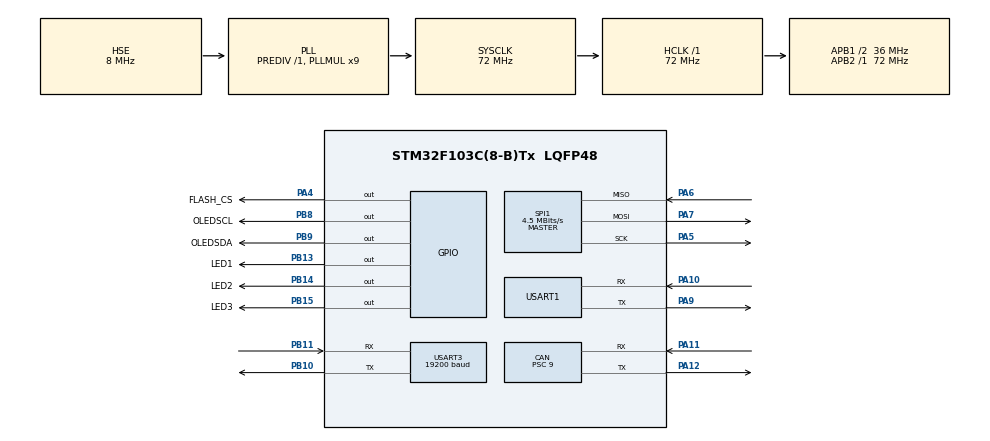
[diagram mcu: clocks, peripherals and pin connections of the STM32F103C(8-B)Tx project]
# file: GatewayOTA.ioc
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CAN.ABOM=ENABLE
CAN.BS1=CAN_BS1_13TQ
CAN.BS2=CAN_BS2_2TQ
CAN.CalculateBaudRate=250000
CAN.CalculateTimeBit=4000
CAN.CalculateTimeQuantum=250.0
CAN.Mode=CAN_MODE_NORMAL
CAN.NART=DISABLE
CAN.Prescaler=9
CAN.SJW=CAN_SJW_1TQ
Mcu.Family=STM32F1
Mcu.Name=STM32F103C(8-B)Tx
Mcu.Package=LQFP48
NVIC.PriorityGroup=NVIC_PRIORITYGROUP_4
NVIC.TIM4_IRQn=true\:15\:0\:false\:false\:true\:false\:true\:true
NVIC.TimeBase=TIM4_IRQn
NVIC.TimeBaseIP=TIM4
NVIC.USART1_IRQn=true\:5\:0\:true\:false\:true\:true\:true\:true
NVIC.USB_LP_CAN1_RX0_IRQn=true\:6\:0\:false\:false\:true\:true\:true\:true
PA10.GPIO_PuPd=GPIO_NOPULL
PA10.Mode=Asynchronous
PA10.Signal=USART1_RX
PA11.Mode=CAN_Activate
PA11.Signal=CAN_RX
PA12.Mode=CAN_Activate
PA12.Signal=CAN_TX
PA13.Mode=Serial_Wire
PA13.Signal=SYS_JTMS-SWDIO
PA14.Mode=Serial_Wire
PA14.Signal=SYS_JTCK-SWCLK
PA5.Mode=Full_Duplex_Master
PA5.Signal=SPI1_SCK
PA6.Mode=Full_Duplex_Master
PA6.Signal=SPI1_MISO
PA7.Mode=Full_Duplex_Master
PA7.Signal=SPI1_MOSI
PA9.GPIO_Speed=GPIO_SPEED_FREQ_HIGH
PA9.Mode=Asynchronous
PA9.Signal=USART1_TX
PB10.Mode=Asynchronous
PB10.Signal=USART3_TX
PB11.Mode=Asynchronous
PB11.Signal=USART3_RX
PB13.GPIO_Label=LED1
PB13.Signal=GPIO_Output
PB14.GPIO_Label=LED2
PB14.Signal=GPIO_Output
PB15.GPIO_Label=LED3
PB15.Signal=GPIO_Output
PA4.GPIO_Label=FLASH_CS
PA4.PinState=GPIO_PIN_SET
PA4.Signal=GPIO_Output
PB8.GPIO_Label=OLEDSCL
PB8.GPIO_ModeDefaultOutputPP=GPIO_MODE_OUTPUT_OD
PB8.GPIO_PuPd=GPIO_NOPULL
PB8.PinState=GPIO_PIN_SET
PB8.Signal=GPIO_Output
PB9.GPIO_Label=OLEDSDA
PB9.GPIO_ModeDefaultOutputPP=GPIO_MODE_OUTPUT_OD
PB9.GPIO_PuPd=GPIO_NOPULL
PB9.PinState=GPIO_PIN_SET
PB9.Signal=GPIO_Output
PD0-OSC_IN.Mode=HSE-External-Oscillator
PD0-OSC_IN.Signal=RCC_OSC_IN
PD1-OSC_OUT.Mode=HSE-External-Oscillator
PD1-OSC_OUT.Signal=RCC_OSC_OUT
ProjectManager.HeapSize=0x200
ProjectManager.StackSize=0x400
ProjectManager.TargetToolchain=MDK-ARM V5
RCC.AHBFreq_Value=72000000
RCC.APB1CLKDivider=RCC_HCLK_DIV2
RCC.APB1Freq_Value=36000000
RCC.APB1TimFreq_Value=72000000
RCC.APB2Freq_Value=72000000
RCC.APB2TimFreq_Value=72000000
RCC.HCLKFreq_Value=72000000
RCC.PLLMUL=RCC_PLL_MUL9
RCC.PLLSourceVirtual=RCC_PLLSOURCE_HSE
RCC.SYSCLKFreq_VALUE=72000000
RCC.SYSCLKSource=RCC_SYSCLKSOURCE_PLLCLK
RCC.USBFreq_Value=72000000
SPI1.BaudRatePrescaler=SPI_BAUDRATEPRESCALER_16
SPI1.CalculateBaudRate=4.5 MBits/s
SPI1.Direction=SPI_DIRECTION_2LINES
SPI1.Mode=SPI_MODE_MASTER
SPI1.VirtualType=VM_MASTER
USART1.VirtualMode=VM_ASYNC
USART3.BaudRate=19200
USART3.Parity=PARITY_EVEN
USART3.VirtualMode=VM_ASYNC
USART3.WordLength=WORDLENGTH_9B
VP_SYS_VS_tim4.Mode=TIM4
board=custom

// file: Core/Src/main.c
/* USER CODE BEGIN Header */
/**
  ******************************************************************************
  * @file           : main.c
  * @brief          : Main program body
  ******************************************************************************
  * @attention
  *
  * Copyright (c) 2026 STMicroelectronics.
  * All rights reserved.
  *
  * This software is licensed under terms that can be found in the LICENSE file
  * in the root directory of this software component.
  * If no LICENSE file comes with this software, it is provided AS-IS.
  *
  ******************************************************************************
  */
/* USER CODE END Header */
#include "main.h"

/* USER CODE BEGIN Includes */
#include "OLED.h"
#include "gateway_protocol.h"
#include "flash_queue.h"
#include "modbus_master.h"
#include "ota_layout.h"
#include "ota_meta.h"
#include "ota_download.h"
#include <string.h>
/* USER CODE END Includes */

/* USER CODE BEGIN PD */
#ifndef GW_APP_VERSION
/* 首次烧录版本；发布新版时编译宏必须与发布清单的 VERSION 一致。 */
#define GW_APP_VERSION 10000UL
#endif
/* USER CODE END PD */

CAN_HandleTypeDef hcan;

SPI_HandleTypeDef hspi1;

UART_HandleTypeDef huart1;
UART_HandleTypeDef huart3;

/* USER CODE BEGIN PV */
/* 两个任务共用同一颗 W25Q32；持锁期间才能访问外部 Flash。 */
static SemaphoreHandle_t flash_lock;
static uint8_t flash_ok;
/* volatile 让任务每次重新读取共享标志；Flash 的互斥仍由 flash_lock 保证。 */
static volatile uint32_t poll_interval_ms = 5000U;
static volatile uint8_t update_requested;
static volatile uint8_t poll_completed;
static uint8_t ota_testing;
static ota_meta_t ota_meta;
/* USART1 中断只入队；512 字节可容纳一条最长约 280 字节的 OTA 数据行。 */
static uint8_t esp_rx_byte;
static volatile uint8_t esp_rx_ring[512];
static volatile uint16_t esp_rx_head;
static volatile uint16_t esp_rx_tail;
static volatile uint8_t esp_rx_fault;
/* CAN 联调阶段只接收 ID 0x301；Keil Watch 可查看最近值和收帧次数。 */
volatile uint16_t can_last_value;
volatile uint16_t can_last_sequence;
volatile uint32_t can_rx_count;
volatile uint32_t can_last_tick;
volatile uint32_t can_init_ok;
/* USER CODE END PV */

void SystemClock_Config(void);
static void MX_GPIO_Init(void);
static void MX_CAN_Init(void);
static void MX_SPI1_Init(void);
static void MX_USART1_UART_Init(void);
static void MX_USART3_UART_Init(void);
/* USER CODE BEGIN PFP */
static void BootBlink(uint8_t times);
static uint8_t OTA_StartupCheck(void);
static void SendVersion(void);
static uint32_t parse_ack(const char *s);
static uint32_t parse_poll(const char *s);
static void PollTask(void *argument);
static void BridgeTask(void *argument);
static uint8_t CAN_GatewayStart(void);
/* USER CODE END PFP */

/* USER CODE BEGIN 0 */
/* CAN 外设本体已由生成区 MX_CAN_Init 配好（PA11/PA12、250 kbit/s）。
   这里只做 CubeMX 不生成的三件事：过滤器、启动、开接收中断。
   不加过滤器：FIFO 会收到总线上所有帧；不 Start：收发不了；
   不开通知：收不到中断，回调永远不会被调用。 */
static uint8_t CAN_GatewayStart(void) {
    CAN_FilterTypeDef filter = {0};
    /* 32 位掩码模式：只放行标准数据帧 0x301。
       FilterIdHigh = 0x301<<5：标准 ID 占过滤寄存器 31:21 位；
       FilterMaskIdLow = 6：IDE、RTR 两位也参与匹配（必须是标准帧 + 数据帧）。 */
    filter.FilterBank = 0;
    filter.FilterMode = CAN_FILTERMODE_IDMASK;
    filter.FilterScale = CAN_FILTERSCALE_32BIT;
    filter.FilterIdHigh = (uint16_t)(0x301U << 5);
    filter.FilterIdLow = 0x0000U;
    filter.FilterMaskIdHigh = (uint16_t)(0x7FFU << 5);
    filter.FilterMaskIdLow = 0x0006U;
    filter.FilterFIFOAssignment = CAN_RX_FIFO0;
    filter.FilterActivation = ENABLE;
    filter.SlaveStartFilterBank = 14;
    if (HAL_CAN_ConfigFilter(&hcan, &filter) != HAL_OK) return 0U;
    if (HAL_CAN_Start(&hcan) != HAL_OK) return 0U;
    /* 打开 FIFO0 收到消息中断，收到帧后进 HAL_CAN_RxFifo0MsgPendingCallback。 */
    if (HAL_CAN_ActivateNotification(&hcan, CAN_IT_RX_FIFO0_MSG_PENDING) != HAL_OK) return 0U;
    return 1U;
}

/* USER CODE END 0 */

int main(void)
{

  /* USER CODE BEGIN 1 */
  /* 应用从 0x08006000 启动，中断向量也必须切到这个地址。 */
  SCB->VTOR = OTA_APP_BASE;
  /* USER CODE END 1 */

  /* MCU Configuration--------------------------------------------------------*/

  /* Reset of all peripherals, Initializes the Flash interface and the Systick. */
  HAL_Init();

  /* Configure the system clock */
  SystemClock_Config();

  /* Initialize all configured peripherals */
  MX_GPIO_Init();
  MX_CAN_Init();
  MX_SPI1_Init();
  MX_USART1_UART_Init();
  MX_USART3_UART_Init();
  /* USER CODE BEGIN 2 */
  can_init_ok = CAN_GatewayStart();
  if (!can_init_ok) Error_Handler();
  /* 三灯快闪：不依赖屏幕和任何时间基准，先证明 App 真的跳进来了。 */
  BootBlink(1);
  /* 屏幕放在串口之前初始化，避免串口出错时连屏都点不亮。 */
  OLED_Init();
  /* 常显正在运行的 App 编译版本，升级后可直接从屏幕核对。 */
  OLED_ShowString(1, 1, "V");
  OLED_ShowNum(1, 2, GW_APP_VERSION, 5);
  OLED_ShowString(1, 7, " C:ERR    ");
  OLED_ShowString(2, 1, "ID1:----- WAIT  ");
  OLED_ShowString(3, 1, "ID2:----- WAIT  ");
  OLED_ShowString(4, 1, "INIT...         ");
  /* 屏没有应答时再快闪三下，用来区分“接线/供电问题”和“程序没跑”。 */
  if (OLED_I2C_Nack) BootBlink(3);
  if (HAL_UART_Receive_IT(&huart1, &esp_rx_byte, 1) != HAL_OK)
  {
    OLED_ShowString(4, 1, "UART1 ERR       ");
    Error_Handler();
  }
  flash_ok = FlashQueue_Init();
  if (!flash_ok)
  {
    OLED_ShowString(4, 1, "FLASH ERR       ");
    HAL_GPIO_WritePin(LED3_GPIO_Port, LED3_Pin, GPIO_PIN_SET);
  }
  if (flash_ok && !OTA_StartupCheck()) NVIC_SystemReset();

  /* 栈单位为 32 位字；桥接任务用 768 字（3 KiB）容纳下载行、SHA 和 HAL 调用。 */
  flash_lock = xSemaphoreCreateMutex();
  if (!flash_lock ||
      xTaskCreate(PollTask, "poll", 256, 0, 2, 0) != pdPASS ||
      xTaskCreate(BridgeTask, "bridge", 768, 0, 1, 0) != pdPASS) Error_Handler();
  vTaskStartScheduler();
  Error_Handler();
  /* USER CODE END 2 */

  /* Infinite loop */
  while (1)
  {

  }
}

void SystemClock_Config(void)
{
  RCC_OscInitTypeDef RCC_OscInitStruct = {0};
  RCC_ClkInitTypeDef RCC_ClkInitStruct = {0};

  /** Initializes the RCC Oscillators according to the specified parameters
  * in the RCC_OscInitTypeDef structure.
  */
  RCC_OscInitStruct.OscillatorType = RCC_OSCILLATORTYPE_HSE;
  RCC_OscInitStruct.HSEState = RCC_HSE_ON;
  RCC_OscInitStruct.HSEPredivValue = RCC_HSE_PREDIV_DIV1;
  RCC_OscInitStruct.HSIState = RCC_HSI_ON;
  RCC_OscInitStruct.PLL.PLLState = RCC_PLL_ON;
  RCC_OscInitStruct.PLL.PLLSource = RCC_PLLSOURCE_HSE;
  RCC_OscInitStruct.PLL.PLLMUL = RCC_PLL_MUL9;
  if (HAL_RCC_OscConfig(&RCC_OscInitStruct) != HAL_OK)
  {
    Error_Handler();
  }

  /** Initializes the CPU, AHB and APB buses clocks
  */
  RCC_ClkInitStruct.ClockType = RCC_CLOCKTYPE_HCLK|RCC_CLOCKTYPE_SYSCLK
                              |RCC_CLOCKTYPE_PCLK1|RCC_CLOCKTYPE_PCLK2;
  RCC_ClkInitStruct.SYSCLKSource = RCC_SYSCLKSOURCE_PLLCLK;
  RCC_ClkInitStruct.AHBCLKDivider = RCC_SYSCLK_DIV1;
  RCC_ClkInitStruct.APB1CLKDivider = RCC_HCLK_DIV2;
  RCC_ClkInitStruct.APB2CLKDivider = RCC_HCLK_DIV1;

  if (HAL_RCC_ClockConfig(&RCC_ClkInitStruct, FLASH_LATENCY_2) != HAL_OK)
  {
    Error_Handler();
  }
}

static void MX_SPI1_Init(void)
{

  /* SPI1 parameter configuration*/
  hspi1.Instance = SPI1;
  hspi1.Init.Mode = SPI_MODE_MASTER;
  hspi1.Init.Direction = SPI_DIRECTION_2LINES;
  hspi1.Init.DataSize = SPI_DATASIZE_8BIT;
  hspi1.Init.CLKPolarity = SPI_POLARITY_LOW;
  hspi1.Init.CLKPhase = SPI_PHASE_1EDGE;
  hspi1.Init.NSS = SPI_NSS_SOFT;
  hspi1.Init.BaudRatePrescaler = SPI_BAUDRATEPRESCALER_16;
  hspi1.Init.FirstBit = SPI_FIRSTBIT_MSB;
  hspi1.Init.TIMode = SPI_TIMODE_DISABLE;
  hspi1.Init.CRCCalculation = SPI_CRCCALCULATION_DISABLE;
  hspi1.Init.CRCPolynomial = 10;
  if (HAL_SPI_Init(&hspi1) != HAL_OK)
  {
    Error_Handler();
  }

}

static void MX_USART1_UART_Init(void)
{

  huart1.Instance = USART1;
  huart1.Init.BaudRate = 115200;
  huart1.Init.WordLength = UART_WORDLENGTH_8B;
  huart1.Init.StopBits = UART_STOPBITS_1;
  huart1.Init.Parity = UART_PARITY_NONE;
  huart1.Init.Mode = UART_MODE_TX_RX;
  huart1.Init.HwFlowCtl = UART_HWCONTROL_NONE;
  huart1.Init.OverSampling = UART_OVERSAMPLING_16;
  if (HAL_UART_Init(&huart1) != HAL_OK)
  {
    Error_Handler();
  }

}

static void MX_USART3_UART_Init(void)
{

  huart3.Instance = USART3;
  huart3.Init.BaudRate = 19200;
  huart3.Init.WordLength = UART_WORDLENGTH_9B;
  huart3.Init.StopBits = UART_STOPBITS_1;
  huart3.Init.Parity = UART_PARITY_EVEN;
  huart3.Init.Mode = UART_MODE_TX_RX;
  huart3.Init.HwFlowCtl = UART_HWCONTROL_NONE;
  huart3.Init.OverSampling = UART_OVERSAMPLING_16;
  if (HAL_UART_Init(&huart3) != HAL_OK)
  {
    Error_Handler();
  }

}

static void MX_GPIO_Init(void)
{
  GPIO_InitTypeDef GPIO_InitStruct = {0};

  /* GPIO Ports Clock Enable */
  __HAL_RCC_GPIOD_CLK_ENABLE();
  __HAL_RCC_GPIOA_CLK_ENABLE();
  __HAL_RCC_GPIOB_CLK_ENABLE();

  /*Configure GPIO pin Output Level */
  HAL_GPIO_WritePin(GPIOB, LED1_Pin|LED2_Pin|LED3_Pin, GPIO_PIN_RESET);

  /*Configure GPIO pin Output Level */
  HAL_GPIO_WritePin(GPIOA, FLASH_CS_Pin, GPIO_PIN_SET);
  HAL_GPIO_WritePin(GPIOB, OLEDSCL_Pin|OLEDSDA_Pin, GPIO_PIN_SET);

  /*Configure GPIO pins : LED1_Pin LED2_Pin LED3_Pin */
  GPIO_InitStruct.Pin = LED1_Pin|LED2_Pin|LED3_Pin;
  GPIO_InitStruct.Mode = GPIO_MODE_OUTPUT_PP;
  GPIO_InitStruct.Pull = GPIO_NOPULL;
  GPIO_InitStruct.Speed = GPIO_SPEED_FREQ_LOW;
  HAL_GPIO_Init(GPIOB, &GPIO_InitStruct);

  /*Configure GPIO pin : FLASH_CS_Pin */
  GPIO_InitStruct.Pin = FLASH_CS_Pin;
  GPIO_InitStruct.Mode = GPIO_MODE_OUTPUT_PP;
  GPIO_InitStruct.Pull = GPIO_NOPULL;
  GPIO_InitStruct.Speed = GPIO_SPEED_FREQ_LOW;
  HAL_GPIO_Init(GPIOA, &GPIO_InitStruct);

  /*Configure GPIO pins : OLEDSCL_Pin OLEDSDA_Pin */
  GPIO_InitStruct.Pin = OLEDSCL_Pin|OLEDSDA_Pin;
  GPIO_InitStruct.Mode = GPIO_MODE_OUTPUT_OD;
  GPIO_InitStruct.Pull = GPIO_NOPULL;
  GPIO_InitStruct.Speed = GPIO_SPEED_FREQ_LOW;
  HAL_GPIO_Init(GPIOB, &GPIO_InitStruct);

}

static void MX_CAN_Init(void)
{

  hcan.Instance = CAN1;
  hcan.Init.Prescaler = 9;
  hcan.Init.Mode = CAN_MODE_NORMAL;
  hcan.Init.SyncJumpWidth = CAN_SJW_1TQ;
  hcan.Init.TimeSeg1 = CAN_BS1_13TQ;
  hcan.Init.TimeSeg2 = CAN_BS2_2TQ;
  hcan.Init.TimeTriggeredMode = DISABLE;
  hcan.Init.AutoBusOff = ENABLE;
  hcan.Init.AutoWakeUp = DISABLE;
  hcan.Init.AutoRetransmission = ENABLE;
  hcan.Init.ReceiveFifoLocked = DISABLE;
  hcan.Init.TransmitFifoPriority = DISABLE;
  if (HAL_CAN_Init(&hcan) != HAL_OK)
  {
    Error_Handler();
  }
}

/* USER CODE BEGIN 4 */
/* 收帧回调：HAL_CAN_IRQHandler 在 FIFO0 有消息时调用这里。
   只接受标准数据帧 0x301，且数据长度必须为 4 字节。 */
void HAL_CAN_RxFifo0MsgPendingCallback(CAN_HandleTypeDef *phcan)
{
    CAN_RxHeaderTypeDef header;
    uint8_t data[8];
    /* FIFO 里可能堆着多帧，因此循环取完。 */
    while (HAL_CAN_GetRxFifoFillLevel(phcan, CAN_RX_FIFO0) > 0U) {
        if (HAL_CAN_GetRxMessage(phcan, CAN_RX_FIFO0, &header, data) != HAL_OK)
            break;
        if (header.IDE == CAN_ID_STD && header.StdId == 0x301U &&
            header.RTR == CAN_RTR_DATA && header.DLC == 4U) {
            /* 前两个字节组成数值，后两个字节组成序号，均为小端序。 */
            uint32_t d = (uint32_t)data[0] | ((uint32_t)data[1] << 8) |
                         ((uint32_t)data[2] << 16) | ((uint32_t)data[3] << 24);
            can_last_value = (uint16_t)d;
            can_last_sequence = (uint16_t)(d >> 16);
            can_last_tick = HAL_GetTick();
            can_rx_count++;
        }
    }
}

/* 上电自检：三灯同闪，不依赖 OLED、HAL_Delay 和 RTOS，纯 NOP 延时。 */
static void BootBlink(uint8_t times) {
    uint8_t n;
    uint32_t i;
    for (n = 0; n < times; ++n) {
        HAL_GPIO_WritePin(GPIOB, LED1_Pin | LED2_Pin | LED3_Pin, GPIO_PIN_SET);
        for (i = 0; i < 400000U; ++i) __NOP();
        HAL_GPIO_WritePin(GPIOB, LED1_Pin | LED2_Pin | LED3_Pin, GPIO_PIN_RESET);
        for (i = 0; i < 400000U; ++i) __NOP();
    }
}

static uint8_t OTA_StartupCheck(void) {
    /* W25 尚无有效元数据，按首次烧录初始化为当前稳定版本。 */
    if (!ota_meta_load(&ota_meta)) {
        ota_meta.version = GW_APP_VERSION;
        return ota_meta_save(&ota_meta);
    }
    if (ota_meta.state == OTA_STATE_IDLE) {
        /* Keil 直接下载新版 App 时，同步稳定版本，供下次 OTA 回退使用。 */
        if (ota_meta.version != GW_APP_VERSION) {
            ota_meta.version = GW_APP_VERSION;
            return ota_meta_save(&ota_meta);
        }
        return 1;
    }
    /* 只有待确认版本与当前固件相同，才允许新版试运行。 */
    if (ota_meta.state != OTA_STATE_TESTING ||
        ota_meta.pending_version != GW_APP_VERSION) return 0;
    ota_testing = 1;
    return 1;
}

static void SendVersion(void) {
    char line[24], digits[10];
    uint32_t version = GW_APP_VERSION;
    uint8_t used = 8, count = 0;
    /* 先写固定前缀；下面用除 10 取余把整数拆成逆序数字。 */
    memcpy(line, "VERSION ", 8);
    do { digits[count++] = (char)('0' + version % 10U); version /= 10U; }
    while (version && count < sizeof(digits));
    /* 倒着取出数字，得到正常顺序的十进制字符串。 */
    while (count) line[used++] = digits[--count];
    line[used++] = '\n';
    (void)HAL_UART_Transmit(&huart1, (uint8_t *)line, used, 100);
}

static uint32_t parse_ack(const char *s) {
    /* 仅接受 ACK:<十进制序号>；返回 0 表示格式错误。 */
    if (s[0] != 'A' || s[1] != 'C' || s[2] != 'K' || s[3] != ':') return 0;
    uint32_t value = 0; size_t digits = 0;
    /* OTA 复用了更长的行缓冲，索引不能在第 256 个字符处回绕。 */
    for (size_t i = 4; s[i] != '\0'; ++i) {
        /* 先检查字符和乘 10 前的上限，再检查相加后的溢出。 */
        if (s[i] < '0' || s[i] > '9' || value > 429496729U) return 0;
        uint32_t next = value * 10U + (uint32_t)(s[i] - '0');
        if (next < value) return 0;
        value = next; ++digits;
    }
    return digits ? value : 0;
}

static uint32_t parse_poll(const char *s) {
    const char prefix[] = "SET:POLL:";
    /* sizeof 包括末尾的 '\0'，因此前缀长度要减 1。 */
    for (uint8_t i = 0; i < sizeof(prefix) - 1U; ++i)
        if (s[i] != prefix[i]) return 0;
    uint32_t value = 0; size_t digits = 0;
    for (size_t i = sizeof(prefix) - 1U; s[i] != '\0'; ++i) {
        /* 只允许 2000～60000 ms，避免无意义的过快或过慢采样。 */
        if (s[i] < '0' || s[i] > '9' || value > 60000U) return 0;
        value = value * 10U + (uint32_t)(s[i] - '0'); ++digits;
    }
    return digits && value >= 2000U && value <= 60000U ? value : 0;
}

/* USART3 和 OLED 只由轮询任务使用，避免两个任务同时操作。 */
static void PollTask(void *argument) {
    (void)argument;
    /* 用上次计划唤醒时间维持固定轮询周期。 */
    TickType_t wake = xTaskGetTickCount();
    for (;;) {
        /* 镜像完整并尝试提交后才暂停采样，等 BridgeTask 复位进 Bootloader。 */
        if (update_requested) { vTaskDelay(pdMS_TO_TICKS(10)); continue; }
        /* 清零使读取失败的从站保持无效状态，不沿用上一轮数值。 */
        GW_Sample sample = {0};
        /* 读取地址 1/2、寄存器 0；status 的 bit0/bit1 表示读数有效。 */
        if (Modbus_ReadRegister(1, 0, &sample.slave1_value)) sample.status |= 1U;
        if (Modbus_ReadRegister(2, 0, &sample.slave2_value)) sample.status |= 2U;
        sample.uptime_ms = HAL_GetTick();
        /* 超过 3 秒没有 CAN 新帧时不沿用旧值；bit2 表示 CAN 有效。 */
        if (can_rx_count && (uint32_t)(sample.uptime_ms - can_last_tick) <= 3000U) {
            sample.can_value = can_last_value;
            sample.status |= 4U;
        }
        uint16_t displayed_can = (sample.status & 4U) ? sample.can_value : 0xffffU;
        OLED_ShowString(1, 7, " C:ERR    ");
        if (sample.status & 4U) {
            OLED_ShowNum(1, 10, sample.can_value, 5);
            OLED_ShowString(1, 15, "  ");
        }
        HAL_GPIO_WritePin(LED1_GPIO_Port, LED1_Pin,
            ((sample.status & 3U) == 3U) ? GPIO_PIN_SET : GPIO_PIN_RESET);
        /* 先写 ERR 占位，再用成功读到的值覆盖，防止屏幕留旧数据。 */
        OLED_ShowString(2, 1, "ID1:----- ERR   ");
        if (sample.status & 1U) {
            OLED_ShowNum(2, 5, sample.slave1_value, 5);
            OLED_ShowString(2, 11, "OK  ");
        }
        OLED_ShowString(3, 1, "ID2:----- ERR   ");
        if (sample.status & 2U) {
            OLED_ShowNum(3, 5, sample.slave2_value, 5);
            OLED_ShowString(3, 11, "OK  ");
        }
        if (!flash_ok) {
            /* SPI 传输失败时 ID 保持 000000；读到全 0 的芯片也会显示相同结果。 */
            OLED_ShowString(4, 1, "F:      ERR    ");
            OLED_ShowHexNum(4, 3, FlashQueue_JedecId(), 6);
        } else {
            OLED_ShowString(4, 1, "P:");
            OLED_ShowNum(4, 3, poll_interval_ms / 1000U, 2);
            OLED_ShowString(4, 5, "S FLASH:... ");
        }
        /* 锁住 SPI/片选；等锁期间再次检查 OTA 标志。 */
        if (flash_ok && !update_requested &&
            xSemaphoreTake(flash_lock, pdMS_TO_TICKS(1000)) == pdTRUE) {
            uint8_t stored = update_requested ? 0 : FlashQueue_Append(&sample);
            HAL_GPIO_WritePin(LED3_GPIO_Port, LED3_Pin,
                stored ? GPIO_PIN_RESET : GPIO_PIN_SET);
            if (stored) OLED_ShowString(4, 13, "OK  ");
            else {
                if (flash_queue_append_error == 7U) {
                    /* I=字节索引，W=预期写入值，R=回读值，均为十六进制。 */
                    OLED_ShowString(4, 1, "E7 I00 W00 R00  ");
                    OLED_ShowHexNum(4, 5, flash_queue_verify_index, 2);
                    OLED_ShowHexNum(4, 9, flash_queue_verify_expected, 2);
                    OLED_ShowHexNum(4, 13, flash_queue_verify_actual, 2);
                } else {
                    OLED_ShowString(4, 1, "FLASH WRITE E:  ");
                    OLED_ShowNum(4, 15, flash_queue_append_error, 2);
                }
            }
            xSemaphoreGive(flash_lock);
        }
        /* 已完成一轮轮询，新安装应用可据此确认试运行。 */
        poll_completed = 1;
        /* 等待下轮 Modbus 时只刷新 CAN 显示，不增加采样或 Flash 写入频率。 */
        TickType_t next_poll = wake + pdMS_TO_TICKS(poll_interval_ms);
        while (!update_requested && (int32_t)(next_poll - xTaskGetTickCount()) > 0) {
            uint32_t now = HAL_GetTick();
            uint16_t current_can = (can_rx_count &&
                (uint32_t)(now - can_last_tick) <= 3000U) ? can_last_value : 0xffffU;
            if (current_can != displayed_can) {
                if (current_can == 0xffffU) OLED_ShowString(1, 7, " C:ERR    ");
                else {
                    OLED_ShowNum(1, 10, current_can, 5);
                    OLED_ShowString(1, 15, "  ");
                }
                displayed_can = current_can;
            }
            vTaskDelay(pdMS_TO_TICKS(50));
        }
        wake = update_requested ? xTaskGetTickCount() : next_poll;
    }
}

/* 下载器在桥接任务里运行；每次只锁住一个扇区或块，不暂停 PollTask。 */
void ota_download_lock(void) { (void)xSemaphoreTake(flash_lock,portMAX_DELAY); }
void ota_download_unlock(void) { xSemaphoreGive(flash_lock); }
void ota_download_pause(void) { vTaskDelay(pdMS_TO_TICKS(1)); }
uint32_t ota_download_now(void) { return HAL_GetTick(); }
void ota_download_reply(const char *line) {
    (void)HAL_UART_Transmit(&huart1,(uint8_t *)line,(uint16_t)strlen(line),100);
}

/* 上行兼有 GW 遥测帧和 OTA 文本回复；下行命令统一按换行符分帧。 */
static void BridgeTask(void *argument) {
    (void)argument;
    uint8_t frame[GW_FRAME_SIZE],byte,dropping=0;
    char line[304];uint16_t used=0;
    uint32_t last_tx=0,last_sent_seq=0,line_tick=0;
    for(;;) {
        if(esp_rx_fault) {
            /* 溢出/硬件串口错误时整条命令作废，不能把残包当成新命令。 */
            esp_rx_fault=0;esp_rx_tail=esp_rx_head;used=0;dropping=1;
            line_tick=HAL_GetTick();
            if(ota_download_active())ota_download_abort();
        }
        if((used||dropping)&&HAL_GetTick()-line_tick>2000U) {used=0;dropping=0;}
        while(esp_rx_tail!=esp_rx_head) {
            byte=esp_rx_ring[esp_rx_tail];
            esp_rx_tail=(uint16_t)((esp_rx_tail+1U)&511U);
            line_tick=HAL_GetTick();
            if(byte=='\n') {
                if(!dropping) {
                    line[used]=0;
                    int handled=0;
                    if(flash_ok)handled=ota_download_line(line,&ota_meta);
                    else if(strncmp(line,"START ",6)==0) {ota_download_reply("REJECT\n");handled=1;}
                    /* 只有完整镜像已经校验并尝试提交后，才进入复位分支。 */
                    if(handled==2) {update_requested=1;break;}
                    if(!handled&&!ota_download_active()) {
                        uint32_t ack=parse_ack(line),interval=parse_poll(line);
                        if(strcmp(line,"VERSION")==0)SendVersion();
                        if(strcmp(line,"UPDATE")==0)ota_download_reply("REJECT\n");
                        if(interval)poll_interval_ms=interval;
                        if(ack&&ack==last_sent_seq&&flash_ok&&
                           xSemaphoreTake(flash_lock,pdMS_TO_TICKS(1000))==pdTRUE) {
                            (void)FlashQueue_Ack(ack);xSemaphoreGive(flash_lock);last_tx=0;
                        }
                    }
                }
                used=0;dropping=0;
            } else if(byte!='\r'&&!dropping) {
                if(byte>=32&&byte<=126&&used<sizeof(line)-1U)line[used++]=(char)byte;
                else {used=0;dropping=1;} /* 丢弃到下一个换行，保证重传能重新同步。 */
            }
        }
        ota_download_poll();
        if(update_requested) {
            /* 下载期间采样持续运行；此时才等最后一次队列写结束并重启。 */
            (void)xSemaphoreTake(flash_lock,portMAX_DELAY);
            ota_download_reply("REBOOT\n");vTaskDelay(pdMS_TO_TICKS(100));NVIC_SystemReset();
        }
        if(ota_testing&&poll_completed&&
           xSemaphoreTake(flash_lock,pdMS_TO_TICKS(100))==pdTRUE) {
            ota_meta.version=GW_APP_VERSION;ota_meta.pending_version=0;ota_meta.state=OTA_STATE_IDLE;
            uint8_t confirmed=ota_meta_save(&ota_meta);xSemaphoreGive(flash_lock);
            if(!confirmed)NVIC_SystemReset();
            ota_testing=0;
        }
        /* 下载暂占 ESP 串口，停止遥测重发；PollTask 仍将新采样存入原队列。 */
        uint32_t now=HAL_GetTick();
        if(!ota_download_active()&&flash_ok&&(last_tx==0||now-last_tx>=3000U)&&
           xSemaphoreTake(flash_lock,pdMS_TO_TICKS(100))==pdTRUE) {
            if(FlashQueue_Oldest(frame)) {
                last_sent_seq=(uint32_t)frame[4]|((uint32_t)frame[5]<<8)|
                              ((uint32_t)frame[6]<<16)|((uint32_t)frame[7]<<24);
                (void)HAL_UART_Transmit(&huart1,frame,GW_FRAME_SIZE,100);
                HAL_GPIO_TogglePin(LED2_GPIO_Port,LED2_Pin);
            }
            xSemaphoreGive(flash_lock);last_tx=now;
        }
        vTaskDelay(pdMS_TO_TICKS(10));
    }
}

void HAL_UART_RxCpltCallback(UART_HandleTypeDef *uart) {
    if (uart->Instance != USART1) return;
    /* 单生产者（中断）/单消费者（任务）环形缓冲，满时舍弃新字节。 */
    uint16_t next = (uint16_t)((esp_rx_head + 1U) & 511U);
    if (next != esp_rx_tail) {
        esp_rx_ring[esp_rx_head] = esp_rx_byte;
        esp_rx_head = next;
    } else esp_rx_fault = 1;
    (void)HAL_UART_Receive_IT(&huart1, &esp_rx_byte, 1);
}

void HAL_UART_ErrorCallback(UART_HandleTypeDef *uart) {
    if (uart->Instance != USART1) return;
    /* 清溢出并重新开启 1 字节接收，避免通信一次错误后永久停收。 */
    esp_rx_fault = 1;
    __HAL_UART_CLEAR_OREFLAG(&huart1);
    (void)HAL_UART_Receive_IT(&huart1, &esp_rx_byte, 1);
}
/* USER CODE END 4 */

void HAL_TIM_PeriodElapsedCallback(TIM_HandleTypeDef *htim)
{
  if (htim->Instance == TIM4)
  {
    HAL_IncTick();
  }
}

void Error_Handler(void)
{
  __disable_irq();
  while (1)
  {
  }
}
